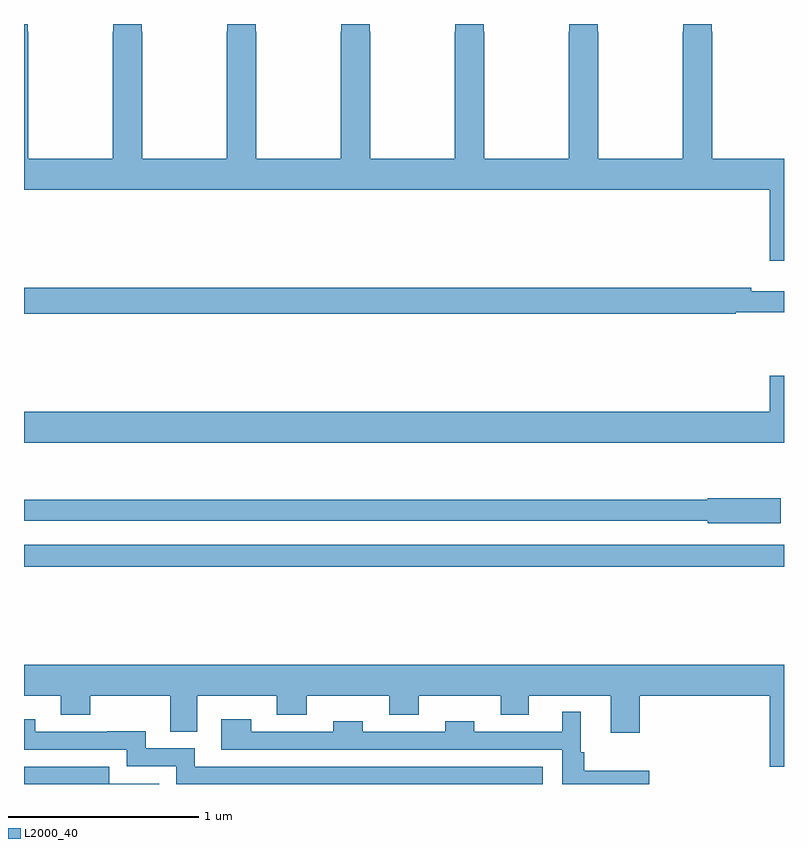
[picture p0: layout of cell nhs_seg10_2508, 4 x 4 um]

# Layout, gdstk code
import gdstk
lib = gdstk.Library(unit=1e-6, precision=1e-09)
def R(c, l, rs):  # rectangles x0, y0, x1, y1
    for r in rs: c.add(gdstk.rectangle(r[:2], r[2:], *l))
def P(c, l, *ps):  # polygons
    for p in ps: c.add(gdstk.Polygon(p, *l))
L2000_40 = (2000, 40)

nhs_seg10_2508 = lib.new_cell('nhs_seg10_2508')
R(nhs_seg10_2508, L2000_40, [(245,1319.644,249,1319.76)])
P(nhs_seg10_2508, L2000_40, [(249,1321.792),(248.622,1321.792),(248.622,1322.459),(248.619,1322.459),(248.619,1322.5),(248.469,1322.5),(248.469,1322.459),(248.467,1322.459),(248.467,1321.792),(248.022,1321.792),(248.022,1322.459),(248.019,1322.459),(248.019,1322.5),(247.869,1322.5),(247.869,1322.459),(247.867,1322.459),(247.867,1321.792),(247.422,1321.792),(247.422,1322.459),(247.419,1322.459),(247.419,1322.5),(247.269,1322.5),(247.269,1322.459),(247.267,1322.459),(247.267,1321.792),(246.822,1321.792),(246.822,1322.459),(246.819,1322.459),(246.819,1322.5),(246.669,1322.5),(246.669,1322.459),(246.667,1322.459),(246.667,1321.792),(246.222,1321.792),(246.222,1322.459),(246.219,1322.459),(246.219,1322.5),(246.069,1322.5),(246.069,1322.459),(246.067,1322.459),(246.067,1321.792),(245.622,1321.792),(245.622,1322.459),(245.619,1322.459),(245.619,1322.5),(245.469,1322.5),(245.469,1322.459),(245.467,1322.459),(245.467,1321.792),(245.022,1321.792),(245.022,1322.459),(245.019,1322.459),(245.019,1322.5),(245,1322.5),(245,1321.628),(248.924,1321.628),(248.924,1321.254),(249,1321.254)],
  [(248.745,1320.984),(249,1320.984),(249,1321.093),(248.828,1321.093),(248.828,1321.112),(245,1321.112),(245,1320.976),(248.745,1320.976)],
  [(249,1320.649),(248.924,1320.649),(248.924,1320.46),(245,1320.46),(245,1320.296),(249,1320.296)],
  [(248.983,1320.003),(248.598,1320.003),(248.598,1319.995),(245,1319.995),(245,1319.886),(248.598,1319.886),(248.598,1319.873),(248.983,1319.873)],
  [(249,1319.128),(245,1319.128),(245,1318.964),(245.194,1318.964),(245.194,1318.865),(245.349,1318.865),(245.349,1318.964),(245.771,1318.964),(245.771,1318.774),(245.911,1318.774),(245.911,1318.964),(246.331,1318.964),(246.331,1318.865),(246.489,1318.865),(246.489,1318.964),(246.922,1318.964),(246.922,1318.865),(247.077,1318.865),(247.077,1318.964),(247.51,1318.964),(247.51,1318.865),(247.657,1318.865),(247.657,1318.964),(248.087,1318.964),(248.087,1318.77),(248.24,1318.77),(248.24,1318.964),(248.924,1318.964),(248.924,1318.59),(249,1318.59)],
  [(248.29,1318.57),(247.949,1318.57),(247.949,1318.666),(247.93,1318.666),(247.93,1318.879),(247.832,1318.879),(247.832,1318.776),(247.371,1318.776),(247.371,1318.831),(247.216,1318.831),(247.216,1318.776),(246.783,1318.776),(246.783,1318.831),(246.628,1318.831),(246.628,1318.776),(246.195,1318.776),(246.195,1318.84),(246.039,1318.84),(246.039,1318.68),(247.833,1318.68),(247.833,1318.5),(248.29,1318.5)],
  [(247.729,1318.591),(247.507,1318.591),(247.507,1318.59),(245.899,1318.59),(245.899,1318.689),(245.641,1318.689),(245.641,1318.778),(245.437,1318.778),(245.437,1318.776),(245.06,1318.776),(245.06,1318.84),(245,1318.84),(245,1318.68),(245.54,1318.68),(245.54,1318.593),(245.802,1318.593),(245.802,1318.5),(247.729,1318.5)],
  [(245.713,1318.501),(245.448,1318.501),(245.448,1318.59),(245,1318.59),(245,1318.5),(245.713,1318.5)])

lib.write_gds('nhs_seg10_2508.gds')
